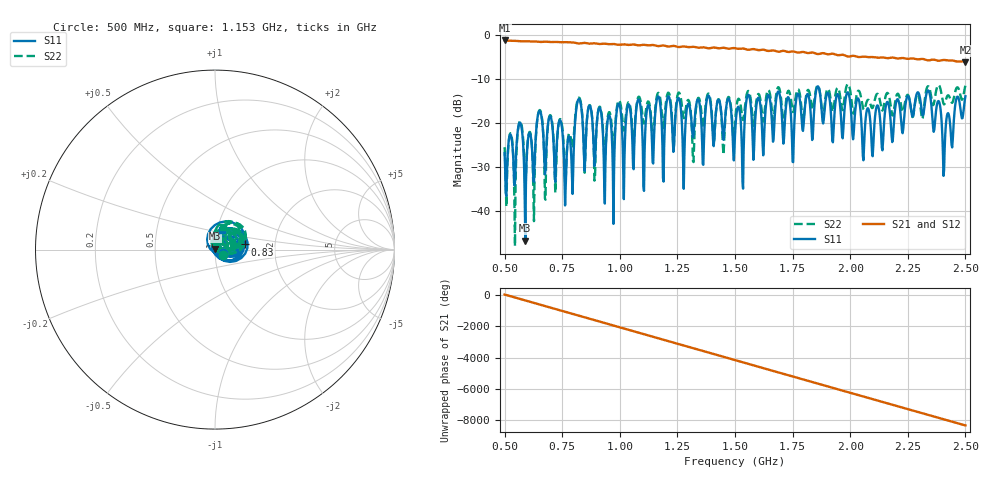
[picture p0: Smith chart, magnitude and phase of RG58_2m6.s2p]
!Agilent N9923A: A.05.17
!Date: Sunday, 01 January 2006 12:58:40
!Model: N9923A
!Serial: MY50371189
!CHECKSUM:1397063130
!Correction: S11(ON Q)S21(ON Q)S12(ON Q)S22(ON Q)
!S2P File: Measurements:S11,S21,S12,S22:
# Hz S DB R 50
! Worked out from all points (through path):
!   801 points, 500 MHz to 2.5 GHz, reference 50 ohm
!   highest |S21| = -1.25 dB at 502.5 MHz (marker M1); lowest = -6.2 dB at 2.5 GHz (marker M2)
!   group delay of S21, straight-line fit = 11.7 ns
!   lowest |S11| = -46.6 dB at 590 MHz (marker M3), VSWR 1.01, Z = 50 + j0.468 ohm
!   |S11| at or under -10 dB: start of sweep to end of sweep
!   |S22| runs from -47.9 to -11.1 dB; largest |S21 - S12| = 0.0037
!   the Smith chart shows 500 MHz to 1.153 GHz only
!   S11 on the Smith chart (normalised r, x): 500 MHz: 1.09, -0.04; 830 MHz: 1.40, +0.08; 1.153 GHz: 1.05, +0.23
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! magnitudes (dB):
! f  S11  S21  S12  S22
! 500 MHz  -26.8  -1.3  -1.2  -25.4
! 502.5 MHz  -30.5  -1.3  -1.2  -28.8
! 545 MHz  -33.4  -1.3  -1.3  -47.9
! 567.5 MHz  -19.9  -1.4  -1.4  -19.6
! 590 MHz  -46.6  -1.4  -1.4  -34.3
! 627.5 MHz  -33.3  -1.5  -1.5  -42.2
! 650 MHz  -17.3  -1.6  -1.6  -17.1
! 765 MHz  -34.5  -1.6  -1.6  -33.0
! 830 MHz  -15.4  -1.9  -1.9  -15.1
! 835 MHz  -17.4  -1.9  -1.9  -17.0
! 1.153 GHz  -18.7  -2.4  -2.4  -17.7
! 1.167 GHz  -13.9  -2.5  -2.5  -13.1
! 1.188 GHz  -32.5  -2.4  -2.4  -20.9
! 1.21 GHz  -13.9  -2.6  -2.6  -13.1
! 1.278 GHz  -34.9  -2.6  -2.6  -18.9
! 1.385 GHz  -13.7  -3.0  -3.0  -13.3
! 1.5 GHz  -22.7  -3.0  -3.0  -20.2
! 1.835 GHz  -23.8  -4.0  -4.0  -16.7
! 2.167 GHz  -15.9  -5.2  -5.2  -13.7
! 2.34 GHz  -12.6  -5.8  -5.8  -11.7
! 2.408 GHz  -30.6  -5.7  -5.7  -15.8
! 2.5 GHz  -13.9  -6.2  -6.2  -11.4
